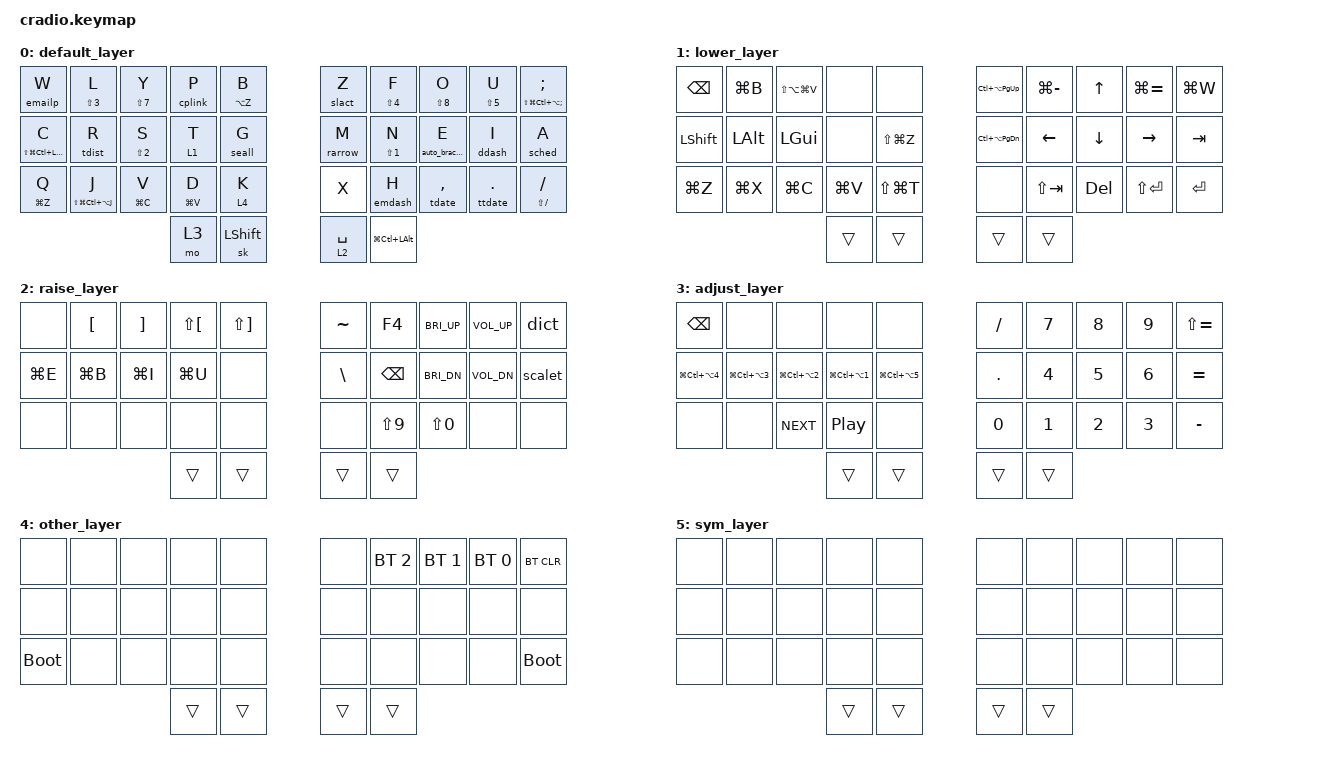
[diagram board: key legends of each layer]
#include <behaviors.dtsi>
#include <dt-bindings/zmk/keys.h>
#include <dt-bindings/zmk/bt.h>

#include "helper.h"
#include "keypos_34keys.h"
#define KEYS_L LT0 LT1 LT2 LT3 LT4 LM0 LM1 LM2 LM3 LM4 LB0 LB1 LB2 LB3 LB4
#define KEYS_R RT0 RT1 RT2 RT3 RT4 RM0 RM1 RM2 RM3 RM4 RB0 RB1 RB2 RB3 RB4
#define KEYS_T LH1 LH0 RH0 RH1           

#define HM_TAPPING_TERM 350
#define COMBO_TAPPING_TERM 500
#define HR_IDLE_TERM 100

#define COMBO_FAST 20
#define COMBO_NORMAL 30
#define COMBO_SLOW 45
#define HOLD_TIME 250

#define DEFAULT 0
#define LOWER   1
#define RAISE   2
#define ADJUST  3
#define OTHER   4
#define SYM     5

//shortcuts
#define HYPER_A &gqt LS(LG(LC(LALT))) A
#define HYPER_C &gqt LS(LG(LC(LALT))) C
#define RAYCAST &kp LS(LG(LC(LA(SQT))))
#define CLOSETAB &kp LG(W)
#define DELWORD &kp LA(BSPC)
#define PLAINPASTE &kp LS(LA(LG(V))) 
#define REDO &kp LS(LG(Z)) 
#define REDO_TAB &kp LS(LG(T)) 
#define TAB_UP &kp LC(LA(PG_UP))
#define TAB_DN &kp LC(LA(PG_DN))
#define BACK &kp LG(LBKT)  
#define FORWARD &kp LG(RBKT)
#define CMD_K &kp LG(K)
#define CMD_W &kp LG(W)
#define MIN &kp LG(M) //minimize
#define LOCK &kp LC(LG(Q))
#define HYPERK &kp LS(LG(LC(LALT))) //hyper key
#define BBIT LA(Z) //bitwarden fill

//hyper keys
#define TTASK LS(LG(LC(LA(K)))) //todoist task
#define CCLIP LS(LG(LC(LA(J)))) //raycast clipboard
#define SSHOT LS(LG(LC(LA(P)))) //screenshot
#define GGL LS(LG(LC(LA(H)))) //raycast google
#define GGPT LS(LG(LC(LA(SEMI)))) //chat gpt search

#define XXX &none
#define ___ &trans
#define AS(keycode) &as LS(keycode) keycode
#define AS_FSLH &ht LS(FSLH) FSLH

&lt {  // layer-tap config
    flavor = "tap-preferred";
    tapping-term-ms = <250>;
};

&sk {  // Sticky Layer Change
    release-after-ms = <1500>;
    quick-release;
};

/*               34 KEY MATRIX

  ╭────────────────────┬────────────────────╮ 
  │  0   1   2   3   4 │  5   6   7   8   9 │ 
  │ 10  11  12  13  14 │ 15  16  17  18  19 │ 
  │ 20  21  22  23  24 │ 25  26  27  28  29 │ 
  ╰───────────╮ 30  31 │ 32  33 ╭───────────╯ 
              ╰────────┴────────╯                */

/ {
    macros {
        auto_brackets: auto_brackets {
            compatible = "zmk,behavior-macro";
            #binding-cells = <0>;
            bindings
                = <&kp LS(N9)>
                , <&kp LS(N0)>
                , <&kp LEFT>
                ;
        };

        sel_line: sel_line {
            compatible = "zmk,behavior-macro";
            #binding-cells = <0>;
            bindings
                = <&kp LG(RIGHT)>
                , <&kp LG(LS(LEFT))>
                ;
        };

        sel_word: sel_word {
            compatible = "zmk,behavior-macro";
            #binding-cells = <0>;
            bindings
                = <&kp LA(LS(LEFT))>
                ;
        };

        sched: sched {
            compatible = "zmk,behavior-macro";
            #binding-cells = <0>;
            bindings
                = <&kp LA(LS(LG(LC(M))))>
                ;
        };
        
        tap: tap {
            compatible = "zmk,behavior-macro-one-param";
            #binding-cells = <1>;
            // By default, macros will tap each behavior in the bindings list,
            // so this will tap "&kp <param1>".
            bindings = <&macro_param_1to1 &kp MACRO_PLACEHOLDER>;
        };

        emailp: emailp {
            compatible = "zmk,behavior-macro";
            #binding-cells = <0>;
            bindings
                = <&macro_tap &kp H &kp E &kp W &kp S &kp O &kp N &kp DOT &kp T &kp R &kp A &kp N &kp LS(N2) &kp G &kp M &kp A &kp I &kp L &kp DOT &kp C &kp O &kp M>
                ;
        };

        emailw: emailw {
            compatible = "zmk,behavior-macro";
            #binding-cells = <0>;
            bindings
                = <&macro_tap &kp H &kp E &kp W &kp S &kp O &kp N &kp DOT &kp T &kp R &kp A &kp N &kp LS(N2) &kp S &kp C &kp A &kp L &kp E &kp DOT &kp C &kp O &kp M>
                ;
        };


        scalet: scalet {
            compatible = "zmk,behavior-macro";
            #binding-cells = <0>;
            bindings
                = <&macro_tap &kp LS(N3) &kp S &kp C &kp A &kp L &kp E>
                , <&kp TAB>
                ;
        };

        tdate: tdate {
            compatible = "zmk,behavior-macro";
            #binding-cells = <0>;
            bindings
                = <&macro_tap &kp SEMI &kp O &kp F>
                ;
        };

        ttdate: ttdate {
            compatible = "zmk,behavior-macro";
            #binding-cells = <0>;
            bindings
                = <&macro_tap &kp SEMI &kp U &kp F>
                ;
        };

        ddash: ddash {
            compatible = "zmk,behavior-macro";
            #binding-cells = <0>;
            bindings
                = <&macro_tap &kp MINUS>
                ;
        };

        rarrow: rarrow {
            compatible = "zmk,behavior-macro";
            #binding-cells = <0>;
            bindings
                = <&macro_tap &kp MINUS &kp MINUS &kp LS(DOT)>
                ;
        };

        rcmdd: rcmdd {
            compatible = "zmk,behavior-macro";
            #binding-cells = <0>;
            bindings
                = <&macro_tap &kp RGUI>
                , <&macro_pause_for_release>
                , <&macro_release &kp RGUI>
                ;
        };

        cplink: cplink {
            compatible = "zmk,behavior-macro";
            #binding-cells = <0>;
            bindings
                = <&macro_tap &kp LS(LG(C))>
                ;
        };

        dict: dict {
            compatible = "zmk,behavior-macro";
            #binding-cells = <0>;
            bindings
                = <&macro_tap &kp RCMD &kp RCMD>
                ;
        };

        seall: seall {
            compatible = "zmk,behavior-macro";
            #binding-cells = <0>;
            bindings
                = <&macro_tap &kp LG(A)>
                ;
        };

        emdash: emdash {
            compatible = "zmk,behavior-macro";
            #binding-cells = <0>;
            bindings
                = <&macro_tap &kp LS(LA(MINUS))>
                ;
        };

        slact: slact {
            compatible = "zmk,behavior-macro";
            #binding-cells = <0>;
            bindings
                = <&macro_tap &kp LC(N3)>
                ;
        };

        tdist: tdist {
            compatible = "zmk,behavior-macro";
            #binding-cells = <0>;
            bindings
                = <&macro_tap &kp LS(LG(LC(LA(K))))> 
                ;
        };
    };

    combos {
        compatible = "zmk,combos";

//delword
        combo_del_word {
            timeout-ms = <COMBO_FAST>;
            key-positions = <15 16>;
            require-prior-idle-ms = <20>;
            bindings = <DELWORD>;
        };

//aprostophe
        combo_aprost {
            timeout-ms = <COMBO_FAST>;
            key-positions = <17 18>;
            require-prior-idle-ms = <60>;
            bindings = <&kp SQT>;
        };

//change later - left index vertical bottom
//        combo_cmdK_l {             
//            timeout-ms = <COMBO_SLOW>;
//            key-positions = <13 23>;
//            require-prior-idle-ms = <50>;
//            bindings = <&kp LG(K)>;
//        };

//cmd k - right - right index vertical bottom
//        combo_cmdK_r {             
//            timeout-ms = <COMBO_SLOW>;
//            key-positions = <16 26>;
//            require-prior-idle-ms = <50>;
//            bindings = <&kp LG(K)>;
//        };

//screenshot
        combo_numlayer {             
            timeout-ms = <COMBO_SLOW>;
            key-positions = <13 14>;
            require-prior-idle-ms = <20>;
            bindings = <&kp LS(LG(LC(LA(P))))>;
        };

//tab
        combo_tab {             
            timeout-ms = <COMBO_SLOW>;
            key-positions = <11 12 13>;
            require-prior-idle-ms = <20>;
            bindings = <&kp TAB>;
        };

//esc left
        combo_esc_left { 
            timeout-ms = <COMBO_SLOW>;
            key-positions = <2 12>;
            require-prior-idle-ms = <50>;
            bindings = <&kp ESC>;
        };

//esc right
        combo_esc_right {
            timeout-ms = <COMBO_SLOW>;
            key-positions = <7 17>;
            require-prior-idle-ms = <50>;
            bindings = <&kp ESC>;
        };

//find
        combo_f18 {
        timeout-ms = <COMBO_FAST>;
            key-positions = <2 3>;
            require-prior-idle-ms = <COMBO_TAPPING_TERM>;
            bindings = <&kp LG(F)>;
        };

//raycast
        combo_raycast {
            timeout-ms = <COMBO_NORMAL>;
            key-positions = <12 13>;
            require-prior-idle-ms = <COMBO_TAPPING_TERM>;
            bindings = <RAYCAST>;
        };

//cmd k - left ring index
        combo_cmdK_l {             
            timeout-ms = <COMBO_FAST>;
            key-positions = <11 13>;
            require-prior-idle-ms = <COMBO_TAPPING_TERM>;
            bindings = <&kp LG(K)>;
        };

//return
        combo_ret {
            timeout-ms = <COMBO_FAST>;
            key-positions = <11 12>;
            require-prior-idle-ms = <150>;
            bindings = <&kp RET>;
        };

//raycast - google
//        combo_ggl {
//            timeout-ms = <COMBO_FAST>;
//            key-positions = <16 17>;
//            require-prior-idle-ms = <COMBO_TAPPING_TERM>;
//            bindings = <&kp LS(LG(LC(LA(H))))>;
//        };

//change audio - left index middle
        combo_audio {
            timeout-ms = <COMBO_FAST>;
            key-positions = <16 17>;
            require-prior-idle-ms = <COMBO_TAPPING_TERM>;
            bindings = <&kp LS(LG(LC(LA(L))))>;
        };

//close tab
        combo_cmdW {
            timeout-ms = <COMBO_FAST>;
            key-positions = <1 2>;
            require-prior-idle-ms = <COMBO_TAPPING_TERM>;
            bindings = <&kp LG(W)>;
        };

//right triple middle
//        combo_aprostophe {
//            timeout-ms = <COMBO_SLOW>;
//            key-positions = <16 17 18>;
//            require-prior-idle-ms = <20>;
//            bindings = <&kp SQT>;
//        };

//back - left top ring index 
//        combo_back {
//            timeout-ms = <COMBO_SLOW>;
//            key-positions = <1 3>;
//            require-prior-idle-ms = <COMBO_TAPPING_TERM>;
//            bindings = <BACK>;
//        };

//new - right top ring index 
        combo_cmdN {
            timeout-ms = <COMBO_SLOW>;
            key-positions = <6 8>;
            require-prior-idle-ms = <COMBO_TAPPING_TERM>;
            bindings = <&kp LG(N)>;
        };

//minimize - middle 3 top left
//        combo_minimize {
//            timeout-ms = <COMBO_SLOW>;
//            key-positions = <1 2 3>;
//            require-prior-idle-ms = <COMBO_TAPPING_TERM>;
//            bindings = <MIN>;
//        };

//lock screen
        combo_lock {
            timeout-ms = <COMBO_SLOW>;
            key-positions = <0 9>;
            require-prior-idle-ms = <COMBO_TAPPING_TERM>;
            bindings = <LOCK>;
        };        

//cmd comma
        combo_cmdComma {
            timeout-ms = <COMBO_FAST>;
            key-positions = <6 16>;
            require-prior-idle-ms = <COMBO_TAPPING_TERM>;
            bindings = <&kp LG(COMMA)>;
        };

//backspace left hand - left index top vertical
        combo_delete_left {
            timeout-ms = <COMBO_NORMAL>;
            key-positions = <3 13>;
            require-prior-idle-ms = <150>;
            bindings = <&kp BSPC>;
        };

//backspace - right - right index top vertical
//        combo_bspcr {
//            timeout-ms = <COMBO_FAST>;
//            key-positions = <6 16>;
//            require-prior-idle-ms = <20>;
//            bindings = <&kp BSPC>;
//        };

//cut - left middle bottom vertical
//        combo_cut {
//            timeout-ms = <COMBO_FAST>;
//            key-positions = <12 22>;
//            require-prior-idle-ms = <50>;
//            bindings = <&kp LG(X)>;
//        };

//to do bullets - right middle bottom vertical
//        combo_cmdL {
//            timeout-ms = <COMBO_FAST>;
//            key-positions = <17 27>;
//            require-prior-idle-ms = <50>;
//            bindings = <&kp LG(L)>;
//        };

//search files
        combo_cmdO {
            timeout-ms = <COMBO_NORMAL>;
            key-positions = <5 7>;
            require-prior-idle-ms = <COMBO_TAPPING_TERM>;
            bindings = <&kp LG(O)>;
        };

//refresh - left index top vertical
        combo_cmdR {
            timeout-ms = <COMBO_NORMAL>;
            key-positions = <1 11>;
            require-prior-idle-ms = <COMBO_TAPPING_TERM>;
            bindings = <&kp LG(R)>;
        };

//change name - left index bottom vertical
//        combo_cmdR {
//            timeout-ms = <COMBO_NORMAL>;
//            key-positions = <11 21>;
//            require-prior-idle-ms = <COMBO_TAPPING_TERM>;
//            bindings = <&kp LG(R)>;
//        };

//bullets - left top middle ring
        combo_bullets {
            timeout-ms = <COMBO_NORMAL>;
            key-positions = <7 8>;
            require-prior-idle-ms = <COMBO_TAPPING_TERM>;
            bindings = <&kp LG(LS(N8))>;
        };

//hyper hyphen        
        combo_cmdHyphen {
            timeout-ms = <COMBO_NORMAL>;
            key-positions = <3 4>;
            require-prior-idle-ms = <COMBO_TAPPING_TERM>;
            bindings = <&kp LA(LC(LS(LG(MINUS))))>;
        };
        
//save
        combo_cmdS {
            timeout-ms = <COMBO_FAST>;
            key-positions = <22 23>;
            require-prior-idle-ms = <COMBO_TAPPING_TERM>;
            bindings = <&kp LG(S)>;
        };

//quit
        combo_cmdQ {
            timeout-ms = <COMBO_SLOW>;
            key-positions = <1 2 7 8>;
            require-prior-idle-ms = <COMBO_TAPPING_TERM>;
            bindings = <&kp LG(Q)>;
        };
    };

    behaviors {
        gqt: require-prior-idle {
            compatible = "zmk,behavior-hold-tap";
            #binding-cells = <2>;
            flavor = "tap-preferred";
            tapping-term-ms = <HM_TAPPING_TERM>;
            quick-tap-ms = <175>;                     
            require-prior-idle-ms = <HR_IDLE_TERM>;   
            bindings = <&kp>, <&kp>;
        };

        gqt_l: thumb_right_hold {
            compatible = "zmk,behavior-hold-tap";
            #binding-cells = <2>;
            flavor = "balanced";
            tapping-term-ms = <250>; //updated from HM_TAPPING_TERM
            require-prior-idle-ms = <30>;         
            bindings = <&mo>, <&kp>;
        };

        hr_l: homerow_mods_left {
            compatible = "zmk,behavior-hold-tap";
            #binding-cells = <2>;
            bindings = <&kp>,  <&kp>;
            flavor = "balanced";
            tapping-term-ms = <HM_TAPPING_TERM>;
            quick-tap-ms = <175>;               
            require-prior-idle-ms = <HR_IDLE_TERM>; 
            hold-trigger-key-positions = <KEYS_R KEYS_T>;
            hold-trigger-on-release;            
        };

        hr_r: homerow_mods_right {
            compatible = "zmk,behavior-hold-tap";
            #binding-cells = <2>;
            bindings = <&kp>, <&kp>;
            flavor = "balanced";
            tapping-term-ms = <HM_TAPPING_TERM>;
            quick_tap_ms = <175>;
            require-prior-idle-ms = <HR_IDLE_TERM>; 
            hold-trigger-key-positions = <KEYS_L KEYS_T>;
            hold-trigger-on-release;           
        };

        hl_l: homerow_layers_left {
            compatible = "zmk,behavior-hold-tap";
            #binding-cells = <2>;
            bindings = <&mo>,  <&kp>;
            flavor = "balanced";
            tapping-term-ms = <HM_TAPPING_TERM>;
            quick-tap-ms = <175>;              
            require-prior-idle-ms = <HR_IDLE_TERM>; 
            hold-trigger-key-positions = <KEYS_R KEYS_T>;
            hold-trigger-on-release;            
        };

        hl_r: homerow_layers_right {
            compatible = "zmk,behavior-hold-tap";
            #binding-cells = <2>;
            bindings = <&mo>, <&kp>;
            flavor = "balanced";
            tapping-term-ms = <HM_TAPPING_TERM>;
            quick_tap_ms = <175>;
            require-prior-idle-ms = <HR_IDLE_TERM>;   
            hold-trigger-key-positions = <KEYS_L KEYS_T>;
            hold-trigger-on-release;            
        };

        td0: td0 {
            compatible = "zmk,behavior-tap-dance";
            #binding-cells = <0>;
            tapping-term-ms = <250>;
            bindings = <&sk LSHIFT>, <&kp LG(K)>;
        };
        
        as: auto_shift {
            compatible = "zmk,behavior-hold-tap";
            #binding-cells = <2>;
            tapping_term_ms = <HOLD_TIME>;
            quick_tap_ms = <0>;
            flavor = "tap-preferred";
            bindings = <&kp>, <&kp>;
        };

        ht: hold_tap {
            compatible = "zmk,behavior-hold-tap";
            #binding-cells = <2>;
            tapping_term_ms = <HOLD_TIME>;
            quick_tap_ms = <0>;
            flavor = "tap-preferred";
            bindings = <&tap>, <&kp>;
        };
//personal email
        emp: emp {
            compatible = "zmk,behavior-hold-tap";
            #binding-cells = <2>;
            tapping_term_ms = <HOLD_TIME>;
            quick_tap_ms = <0>;
            flavor = "tap-preferred";
            bindings = <&emailp>, <&kp>;
        };
//work email
        emw: emw {
            compatible = "zmk,behavior-hold-tap";
            #binding-cells = <2>;
            tapping_term_ms = <HOLD_TIME>;
            quick_tap_ms = <0>;
            flavor = "tap-preferred";
            bindings = <&emailw>, <&kp>;
        };
//date 1
        td: td {
            compatible = "zmk,behavior-hold-tap";
            #binding-cells = <2>;
            tapping_term_ms = <HOLD_TIME>;
            quick_tap_ms = <0>;
            flavor = "tap-preferred";
            bindings = <&tdate>, <&kp>;
        };
//date 2
        ttd: ttd {
            compatible = "zmk,behavior-hold-tap";
            #binding-cells = <2>;
            tapping_term_ms = <HOLD_TIME>;
            quick_tap_ms = <0>;
            flavor = "tap-preferred";
            bindings = <&ttdate>, <&kp>;
        };
//dash
        ed: ed {
            compatible = "zmk,behavior-hold-tap";
            #binding-cells = <2>;
            tapping_term_ms = <HOLD_TIME>;
            quick_tap_ms = <0>;
            flavor = "tap-preferred";
            bindings = <&ddash>, <&kp>;
        };
//brackets
        ab: ab {
            compatible = "zmk,behavior-hold-tap";
            #binding-cells = <2>;
            tapping_term_ms = <HOLD_TIME>;
            quick_tap_ms = <0>;
            flavor = "tap-preferred";
            bindings = <&auto_brackets>, <&kp>;
        };
//right arrow        
        ra: ra {
            compatible = "zmk,behavior-hold-tap";
            #binding-cells = <2>;
            tapping_term_ms = <HOLD_TIME>;
            quick_tap_ms = <0>;
            flavor = "tap-preferred";
            bindings = <&rarrow>, <&kp>;
        };
//rcmd
        rc: rc {
            compatible = "zmk,behavior-hold-tap";
            #binding-cells = <2>;
            tapping_term_ms = <HOLD_TIME>;
            quick_tap_ms = <0>;
            flavor = "tap-preferred";
            bindings = <&rcmdd>, <&kp>;
        };
//copy link        
        cl: cl {
            compatible = "zmk,behavior-hold-tap";
            #binding-cells = <2>;
            tapping_term_ms = <HOLD_TIME>;
            quick_tap_ms = <0>;
            flavor = "tap-preferred";
            bindings = <&cplink>, <&kp>;
        };
//dictation
        di: di {
            compatible = "zmk,behavior-hold-tap";
            #binding-cells = <2>;
            tapping_term_ms = <HOLD_TIME>;
            quick_tap_ms = <0>;
            flavor = "tap-preferred";
            bindings = <&dict>, <&kp>;
        };

//select all
        sal: sal {
            compatible = "zmk,behavior-hold-tap";
            #binding-cells = <2>;
            tapping_term_ms = <HOLD_TIME>;
            quick_tap_ms = <0>;
            flavor = "tap-preferred";
            bindings = <&seall>, <&kp>;
        };

//emdash
        emd: emd {
            compatible = "zmk,behavior-hold-tap";
            #binding-cells = <2>;
            tapping_term_ms = <HOLD_TIME>;
            quick_tap_ms = <0>;
            flavor = "tap-preferred";
            bindings = <&emdash>, <&kp>;
        };

//schedule
        sch: sch {
            compatible = "zmk,behavior-hold-tap";
            #binding-cells = <2>;
            tapping_term_ms = <HOLD_TIME>;
            quick_tap_ms = <0>;
            flavor = "tap-preferred";
            bindings = <&sched>, <&kp>;
        };

//slack activity
        sla: sla {
            compatible = "zmk,behavior-hold-tap";
            #binding-cells = <2>;
            tapping_term_ms = <HOLD_TIME>;
            quick_tap_ms = <0>;
            flavor = "tap-preferred";
            bindings = <&slact>, <&kp>;
        };

//todoist
        tdt: tdt {
            compatible = "zmk,behavior-hold-tap";
            #binding-cells = <2>;
            tapping_term_ms = <HOLD_TIME>;
            quick_tap_ms = <0>;
            flavor = "tap-preferred";
            bindings = <&tdist>, <&kp>;
        };
//scale todoist
        sct: sct {
            compatible = "zmk,behavior-hold-tap";
            #binding-cells = <2>;
            tapping_term_ms = <HOLD_TIME>;
            quick_tap_ms = <0>;
            flavor = "tap-preferred";
            bindings = <&scalet>, <&kp>;
        };


    };

        keymap {
                compatible = "zmk,keymap";

                default_layer {
                        bindings = <
//canary

/* hold functions
  ┌─────────┬─────────┬──────────┬───────────┬─────────┐                    ┌─────────┬──────────┬─────────────┬───────────┬──────────┐
   pers email    #         &       copy link  bitwarden                      slack act     $           *             %       chat gpt      
  ├─────────┼─────────┼──────────┼───────────┼─────────┤                    ├─────────┼──────────┼─────────────┼───────────┼──────────┤
     hyper    todoist      @        layer 1   select all                       arrow       !        brackets       hyphen    schedule
  ├─────────┼─────────┼──────────┼───────────┼─────────┤                    ├─────────┼──────────┼─────────────┼───────────┼──────────┤
      undo   clipboard    copy       paste     layer 4                         empty    em dash      date 1        date 2    question   
  └─────────┴─────────┴───┬──────┴─────┬─────┴───┬─────┘                    └───┬─────┴───┬──────┴─────────────┴───────────┴──────────┘   
                           number layer   shift                           layer 2     meh                   
                          └────────────┴─────────┘                      └─────────┴─────────┘                                           */


//┌─────────┬─────────┬──────────┬───────────┬─────────┐                    ┌─────────┬──────────┬─────────────┬───────────┬──────────┐
&emp 0 W     &ht LS(N3) L  &ht LS(N7) Y  &cl 0 P     &ht BBIT B              &sla 0 Z  &ht LS(N4) F  &ht LS(N8) O  &ht LS(N5) U  &ht GGPT SEMI      
//├─────────┼─────────┼──────────┼───────────┼─────────┤                    ├─────────┼──────────┼─────────────┼───────────┼──────────┤
HYPER_C      &tdt 0 R     &ht LS(N2) S  &hl_l 1 T    &sal 0 G                &ra 0 M   &ht LS(N1) N  &ab 0 E       &ed 0 I       &sch 0 A       
//├─────────┼─────────┼──────────┼───────────┼─────────┤                    ├─────────┼──────────┼─────────────┼───────────┼──────────┤
&ht LG(Z) Q  &ht CCLIP J  &ht LG(C) V   &ht LG(V) D  &hl_l 4 K               &kp X     &emd 0 H      &td 0 COMMA   &ttd 0 DOT    AS_FSLH   
//└─────────┴─────────┴───┬──────┴─────┬─────┴───┬─────┘                    └───┬─────┴───┬──────┴─────────────┴───────────┴──────────┘   
                              &mo 3     &sk LSHIFT                     &gqt_l 2 SPACE  &kp LG(LC(LALT)) 
                       // └────────────┴─────────┘                      └─────────┴─────────┘ 

                        >;
                };
                
                lower_layer {
                        bindings = <

// layer 1 - navigation and editing - left index??

//┌─────────┬─────────┬──────────┬───────────┬─────────┐                    ┌─────────┬──────────┬─────────────┬───────────┬──────────┐
   &kp BSPC   &kp LG(B) PLAINPASTE  XXX       XXX                            TAB_UP    &kp LG(MINUS) &kp UP     &kp LG(EQUAL)  CMD_W      
//├─────────┼─────────┼──────────┼───────────┼─────────┤                    ├─────────┼──────────┼─────────────┼───────────┼──────────┤
   &kp LSHFT  &kp LALT  &kp LGUI    XXX       REDO                           TAB_DN    &kp LEFT      &kp DOWN   &kp RIGHT      &kp TAB  
//├─────────┼─────────┼──────────┼───────────┼─────────┤                    ├─────────┼──────────┼─────────────┼───────────┼──────────┤
   &kp LG(Z)  &kp LG(X) &kp LG(C)   &kp LG(V) REDO_TAB                       XXX       &kp LS(TAB)   &kp DEL    &kp LS(RET)    &kp RET  
//└─────────┴─────────┴───┬──────┴─────┬─────┴───┬─────┘                    └───┬─────┴───┬──────┴─────────────┴───────────┴──────────┘
                            ___          ___                            ___        ___      
                       // └────────────┴─────────┘                    └─────────┴─────────┘
                        >;
                };

                raise_layer {
                        bindings = < 

// layer 2 - symbols and media - right thumb
  
//┌─────────┬─────────┬──────────┬───────────┬─────────┐                    ┌─────────┬──────────┬─────────────┬───────────┬──────────┐
   XXX        &kp LBKT   &kp RBKT   &kp LS(LBKT) &kp LS(RBKT)                &kp TILDE &kp F4      &kp C_BRI_UP  &kp C_VOL_UP   &dict
//├─────────┼─────────┼──────────┼───────────┼─────────┤                    ├─────────┼──────────┼─────────────┼───────────┼──────────┤
   &kp LG(E)        &kp LG(B)  &kp LG(I)  &kp LG(U)    XXX                         &kp BSLH  &kp BSPC    &kp C_BRI_DN  &kp C_VOL_DN   &scalet
//├─────────┼─────────┼──────────┼───────────┼─────────┤                    ├─────────┼──────────┼─────────────┼───────────┼──────────┤
   XXX        XXX        XXX        XXX          XXX                         XXX       &kp LS(N9)  &kp LS(N0)    XXX            XXX     
//└─────────┴─────────┴───┬──────┴─────┬─────┴───┬─────┘                    └───┬─────┴───┬──────┴─────────────┴───────────┴──────────┘
                            ___          ___                            ___        ___      
                       // └────────────┴─────────┘                    └─────────┴─────────┘
                        >;
                };

                adjust_layer {
                        bindings = <                    

// layer 3 - numbers and settings and nav - left ring finger

//┌─────────┬─────────┬──────────┬───────────┬─────────┐                                        ┌─────────┬──────────┬─────────────┬───────────┬──────────┐
   &kp BSPC  XXX       XXX        XXX         XXX                                                &kp FSLH  &kp N7     &kp N8        &kp N9      &kp LS(EQUAL)  
//├─────────┼─────────┼──────────┼───────────┼─────────┤                                        ├─────────┼──────────┼─────────────┼───────────┼──────────┤
&kp LG(LC(LA(N4))) &kp LG(LC(LA(N3))) &kp LG(LC(LA(N2))) &kp LG(LC(LA(N1))) &kp LG(LC(LA(N5)))   &kp DOT   &kp N4     &kp N5        &kp N6      &kp EQUAL      
//├─────────┼─────────┼──────────┼───────────┼─────────┤                                        ├─────────┼──────────┼─────────────┼───────────┼──────────┤
   XXX       XXX       &kp C_NEXT &kp C_PP    XXX                                                &kp N0    &kp N1     &kp N2        &kp N3      &kp MINUS            
//└─────────┴─────────┴───┬──────┴─────┬─────┴───┬─────┘                                        └───┬─────┴───┬──────┴─────────────┴───────────┴──────────┘
                            ___          ___                                                 ___        ___      
                       // └────────────┴─────────┘                                        └─────────┴─────────┘
                        >;
                };

                other_layer {
                        bindings = <                    

// layer 4 - other home row - left pinky

//┌─────────┬─────────┬──────────┬───────────┬─────────┐                    ┌─────────┬──────────┬─────────────┬───────────┬──────────┐
   XXX       XXX       XXX        XXX         XXX                            XXX       &bt BT_SEL 2  &bt BT_SEL 1  &bt BT_SEL 0  &bt BT_CLR  
//├─────────┼─────────┼──────────┼───────────┼─────────┤                    ├─────────┼──────────┼─────────────┼───────────┼──────────┤
   XXX       XXX       XXX        XXX         XXX                            XXX       XXX           XXX           XXX           XXX        
//├─────────┼─────────┼──────────┼───────────┼─────────┤                    ├─────────┼──────────┼─────────────┼───────────┼──────────┤
&bootloader  XXX       XXX        XXX         XXX                            XXX       XXX           XXX           XXX           &bootloader        
//└─────────┴─────────┴───┬──────┴─────┬─────┴───┬─────┘                    └───┬─────┴───┬──────┴─────────────┴───────────┴──────────┘
                            ___          ___                           ___        ___      
                       // └────────────┴─────────┘                    └─────────┴─────────┘
                        >;
                };

                sym_layer {
                        bindings = <                    

// layer 5 - right index

//┌─────────┬─────────┬──────────┬───────────┬─────────┐                    ┌─────────┬──────────┬─────────────┬───────────┬──────────┐
   XXX       XXX       XXX        XXX         XXX                            XXX       XXX        XXX           XXX         XXX        
//├─────────┼─────────┼──────────┼───────────┼─────────┤                    ├─────────┼──────────┼─────────────┼───────────┼──────────┤
   XXX       XXX       XXX        XXX         XXX                            XXX       XXX        XXX           XXX         XXX        
//├─────────┼─────────┼──────────┼───────────┼─────────┤                    ├─────────┼──────────┼─────────────┼───────────┼──────────┤
   XXX       XXX       XXX        XXX         XXX                            XXX       XXX        XXX           XXX         XXX        
//└─────────┴─────────┴───┬──────┴─────┬─────┴───┬─────┘                    └───┬─────┴───┬──────┴─────────────┴───────────┴──────────┘
                            ___          ___                           ___        ___      
                       // └────────────┴─────────┘                    └─────────┴─────────┘
                        >;
                };
        };
};
